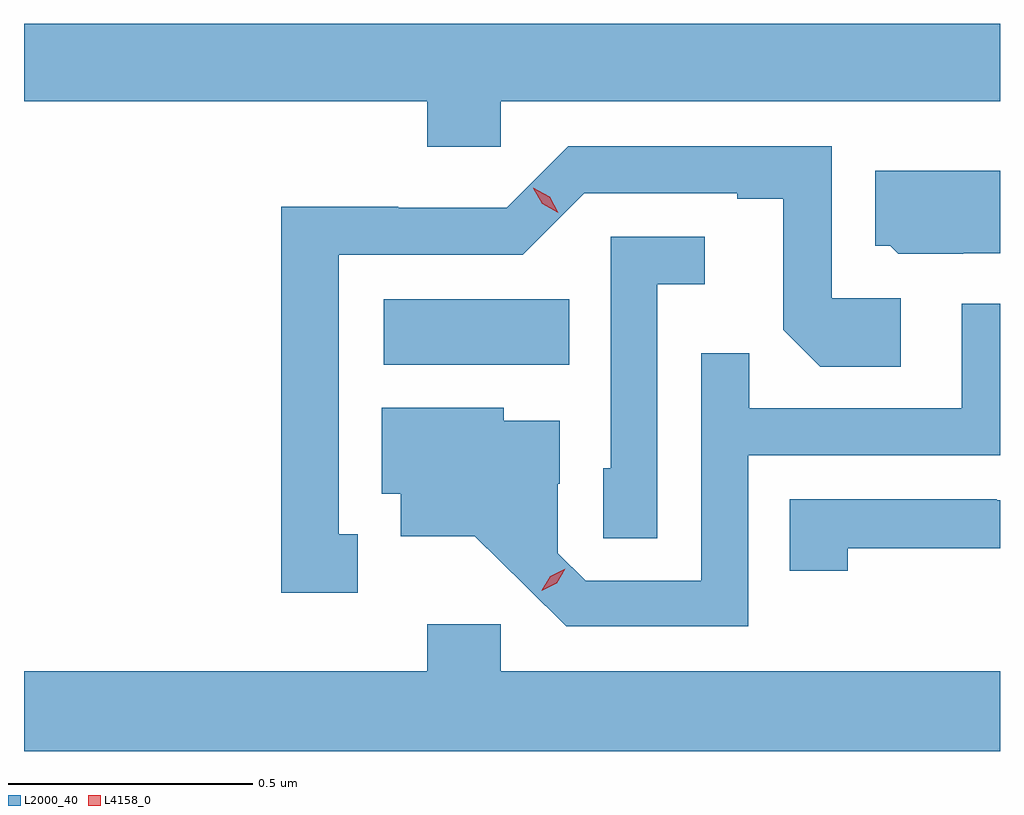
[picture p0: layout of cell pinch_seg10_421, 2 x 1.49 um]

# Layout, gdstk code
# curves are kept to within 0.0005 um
import gdstk
lib = gdstk.Library(unit=1e-6, precision=1e-09)
def R(c, l, rs):  # rectangles x0, y0, x1, y1
    for r in rs: c.add(gdstk.rectangle(r[:2], r[2:], *l))
def P(c, l, *ps):  # polygons
    for p in ps: c.add(gdstk.Polygon(p, *l))
L2000_40 = (2000, 40)
L4158_0 = (4158, 0)

pinch_seg10_421 = lib.new_cell('pinch_seg10_421')
R(pinch_seg10_421, L2000_40, [(602.91,1261.148,603.29,1261.282)])
P(pinch_seg10_421, L2000_40, [(603.15,1261.688),(604.173,1261.688),(604.173,1261.847),(602.173,1261.847),(602.173,1261.688),(602.999,1261.688),(602.999,1261.595),(603.15,1261.595)],
  [(602.857,1260.801),(602.818,1260.801),(602.818,1261.374),(603.195,1261.374),(603.321,1261.5),(603.635,1261.5),(603.635,1261.488),(603.729,1261.488),(603.729,1261.22),(603.805,1261.144),(603.97,1261.144),(603.97,1261.284),(603.828,1261.284),(603.828,1261.596),(603.288,1261.596),(603.162,1261.47),(602.94,1261.47),(602.94,1261.472),(602.7,1261.472),(602.7,1260.681),(602.857,1260.681)],
  [(604.098,1261.377),(604.173,1261.377),(604.173,1261.546),(603.917,1261.546),(603.917,1261.392),(603.948,1261.392),(603.964,1261.376),(604.098,1261.376)],
  [(603.471,1261.313),(603.568,1261.313),(603.568,1261.41),(603.375,1261.41),(603.375,1260.936),(603.36,1260.936),(603.36,1260.793),(603.471,1260.793)],
  [(603.657,1260.963),(604.173,1260.963),(604.173,1261.273),(604.095,1261.273),(604.095,1261.059),(603.659,1261.059),(603.659,1261.172),(603.561,1261.172),(603.561,1260.705),(603.324,1260.705),(603.267,1260.762),(603.267,1260.904),(603.271,1260.904),(603.271,1261.033),(603.156,1261.033),(603.156,1261.06),(602.906,1261.06),(602.906,1260.884),(602.945,1260.884),(602.945,1260.797),(603.097,1260.797),(603.284,1260.612),(603.657,1260.612)],
  [(603.861,1260.772),(604.173,1260.772),(604.173,1260.87),(604.166,1260.87),(604.166,1260.873),(603.742,1260.873),(603.742,1260.726),(603.861,1260.726)],
  [(604.173,1260.52),(603.15,1260.52),(603.15,1260.616),(602.999,1260.616),(602.999,1260.52),(602.173,1260.52),(602.173,1260.356),(604.173,1260.356)])
P(pinch_seg10_421, L4158_0, [(603.234,1260.685),(603.234,1260.686),(603.251,1260.715),(603.282,1260.73),(603.282,1260.73),(603.282,1260.73),(603.265,1260.7),(603.234,1260.685)],
  [(603.268,1261.46),(603.235,1261.478),(603.217,1261.51),(603.217,1261.511),(603.217,1261.511),(603.25,1261.492),(603.268,1261.46),(603.268,1261.46)])

lib.write_gds('pinch_seg10_421.gds')
